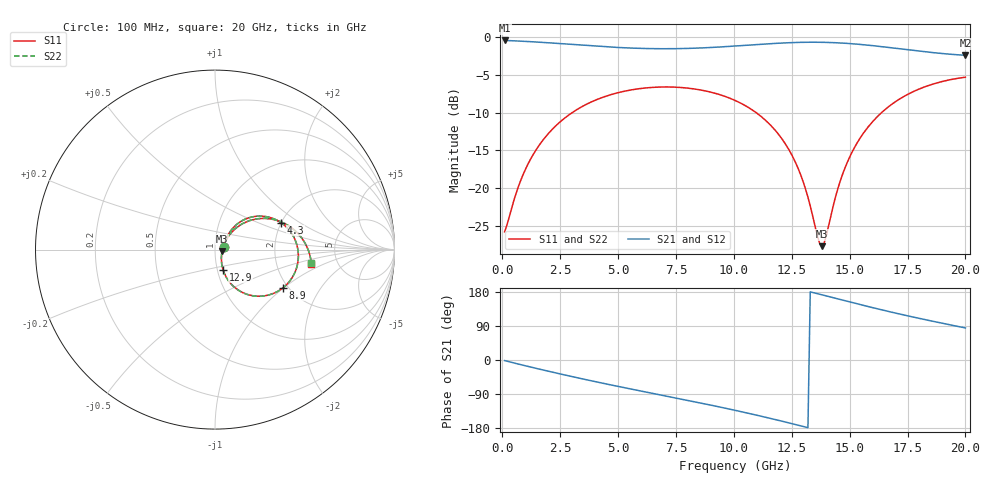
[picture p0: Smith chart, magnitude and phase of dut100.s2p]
! Touchstone file exported from HFSS 2026.1.0
!  File:  C:/ffzhzh/LocalFiles/Ansys_Project_Files/temp_train_TSV_RDL_100_1783044517_45820.aedt
!  Generated:  10:17:15 AM Jul  3, 2026
!  Design:  TSV_RDL
!  Project:  temp_train_TSV_RDL_100_1783044517_45820
! Variables:
!  h_bsmrdl = 2.17um
!  h_ox = 20um
!  h_rdl = 5um
!  h_sub = 54.24um
!  h_tmrdl = 2.57um
!  h_tsv = 54.24um
!  h_via = 3um
!  l_bsmrdl = 956.08um
!  l_sub = 4274.34um
!  l_tmrdl = 222.65um
!  m_sub = 200um
!  pitch = 32.61um
!  r_tsv = 12.34um
!  s_tmrdl = 10um
!  w_bsmrdl = 10.02um
!  w_sub = 500um
!  w_tmrdl = 28.48um
!  x_tsv_center1 = 236.89um
!  x_tsv_center2 = 1202.99um
!  x_tsv_center3 = 1454.12um
!  x_tsv_center4 = 2420.22um
!  x_tsv_center5 = 2671.35um
!  x_tsv_center6 = 3637.45um
# GHz S MA R 50.000000
! Terminal data exported
! Port[1] = TM_RDL1_1_T1
! Port[2] = TM_RDL5_1_T1
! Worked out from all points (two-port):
!   200 points, 100 MHz to 20 GHz, reference 50 ohm
!   highest |S21| = -0.44 dB at 100 MHz (marker M1); lowest = -2.4 dB at 20 GHz (marker M2)
!   |S21| within 3 dB of the highest: start of sweep to end of sweep
!   lowest |S11| = -27.7 dB at 13.8 GHz (marker M3), VSWR 1.09, Z = 54.2 - j0.869 ohm
!   |S11| at or under -10 dB: start of sweep to 3.026 GHz; 10.95 GHz to 16.38 GHz (5.43 GHz wide, 39.7 % of centre)
!   |S22| runs from -27.9 to -5.3 dB; largest |S21 - S12| = 1.9e-13
!   S11 on the Smith chart (normalised r, x): 100 MHz: 1.10, +0.03; 4.3 GHz: 1.99, +0.71; 8.9 GHz: 1.89, -0.99; 12.9 GHz: 1.07, -0.24; 20 GHz: 3.20, -0.70
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0.1  0.0511 13.6  0.9506 -1.6  0.9506 -1.6  0.0511 13.6
! Gamma 0 0 0 0
! Port Impedance 50 0 50 0
0.8  0.1124 48.7  0.9406 -12.3  0.9406 -12.3  0.1124 48.7
1.4  0.1729 49.8  0.9296 -21.1  0.9296 -21.1  0.1729 49.8
2.3  0.2572 43.4  0.9106 -34.0  0.9106 -34.0  0.2572 43.4
3.5  0.3498 31.1  0.8833 -50.4  0.8833 -50.4  0.3498 31.1
4.3  0.3968 22.3  0.8664 -60.8  0.8664 -60.8  0.3968 22.3
6.8  0.4665 -5.5  0.8378 -91.8  0.8378 -91.8  0.4666 -5.5
8.9  0.4353 -29.1  0.8521 -117.7  0.8521 -117.7  0.4354 -29.2
10.1  0.3773 -43.1  0.8739 -133.4  0.8739 -133.4  0.3773 -43.2
11.8  0.2397 -62.2  0.9091 -157.3  0.9091 -157.3  0.2397 -62.4
12.4  0.1767 -67.2  0.9185 -166.3  0.9185 -166.3  0.1766 -67.5
12.9  0.1204 -68.1  0.9236 -174.0  0.9236 -174.0  0.1202 -68.5
13.4  0.06558 -56.7  0.9255 178.3  0.9255 178.3  0.06511 -57.4
13.7  0.04298 -27.2  0.9249 173.6  0.9249 173.6  0.04214 -27.7
13.8  0.04104 -11.2  0.9244 172.0  0.9244 172.0  0.04011 -11.4
14  0.04861 18.0  0.9229 168.8  0.9229 168.8  0.04775 18.5
14.5  0.09971 43.8  0.9166 161.0  0.9166 161.0  0.09921 44.3
15  0.1599 45.7  0.9066 153.2  0.9066 153.2  0.1595 46.1
15.7  0.2424 40.7  0.8875 142.5  0.8875 142.5  0.2422 40.9
16.7  0.3473 29.6  0.8537 127.8  0.8537 127.8  0.3471 29.8
18.2  0.4652 12.0  0.8016 107.3  0.8016 107.3  0.465 12.1
20  0.5422 -8.2  0.7578 84.7  0.7578 84.7  0.5421 -8.1
